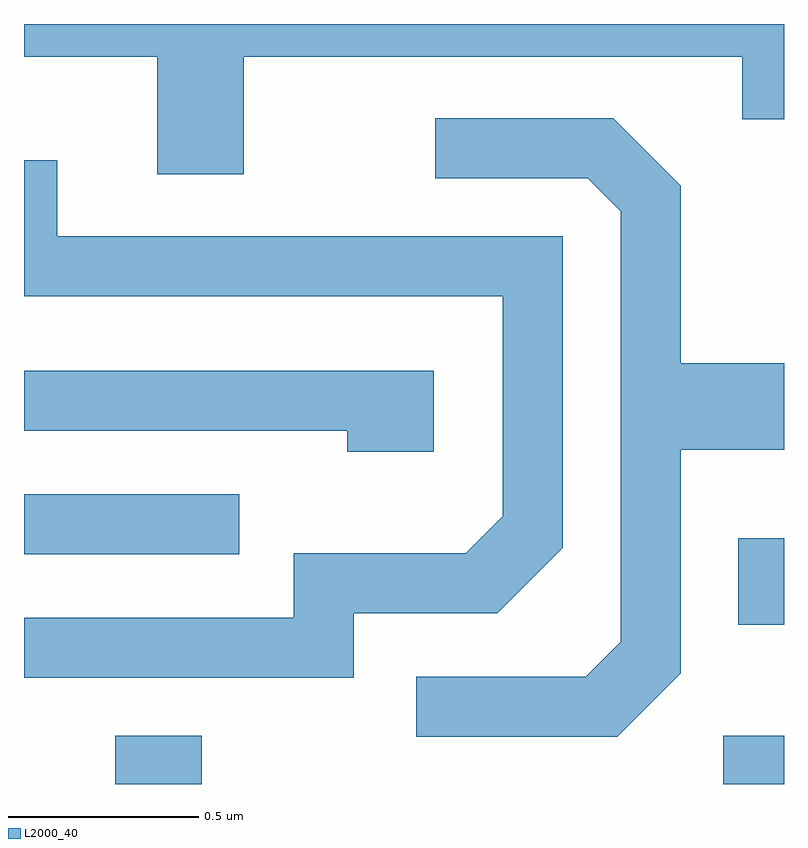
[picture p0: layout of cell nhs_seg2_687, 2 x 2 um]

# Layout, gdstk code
import gdstk
lib = gdstk.Library(unit=1e-6, precision=1e-09)
def R(c, l, rs):  # rectangles x0, y0, x1, y1
    for r in rs: c.add(gdstk.rectangle(r[:2], r[2:], *l))
def P(c, l, *ps):  # polygons
    for p in ps: c.add(gdstk.Polygon(p, *l))
L2000_40 = (2000, 40)

nhs_seg2_687 = lib.new_cell('nhs_seg2_687')
R(nhs_seg2_687, L2000_40, [(190.851,979.802,191.079,979.929), (192.451,979.802,192.611,979.929), (192.491,980.221,192.611,980.449), (190.611,980.406,191.178,980.564)])
P(nhs_seg2_687, L2000_40, [(191.189,981.716),(192.501,981.716),(192.501,981.551),(192.611,981.551),(192.611,981.802),(190.611,981.802),(190.611,981.716),(190.961,981.716),(190.961,981.406),(191.189,981.406)],
  [(192.339,980.094),(192.339,980.681),(192.611,980.681),(192.611,980.909),(192.339,980.909),(192.339,981.377),(192.162,981.554),(191.693,981.554),(191.693,981.396),(192.094,981.396),(192.181,981.309),(192.181,980.177),(192.089,980.084),(191.643,980.084),(191.643,979.926),(192.172,979.926)],
  [(191.479,980.251),(191.857,980.251),(192.029,980.424),(192.029,981.244),(190.699,981.244),(190.699,981.443),(190.611,981.443),(190.611,981.086),(191.871,981.086),(191.871,980.507),(191.774,980.409),(191.321,980.409),(191.321,980.239),(190.611,980.239),(190.611,980.081),(191.479,980.081)],
  [(191.689,980.889),(190.611,980.889),(190.611,980.731),(191.461,980.731),(191.461,980.676),(191.689,980.676)])

lib.write_gds('nhs_seg2_687.gds')
